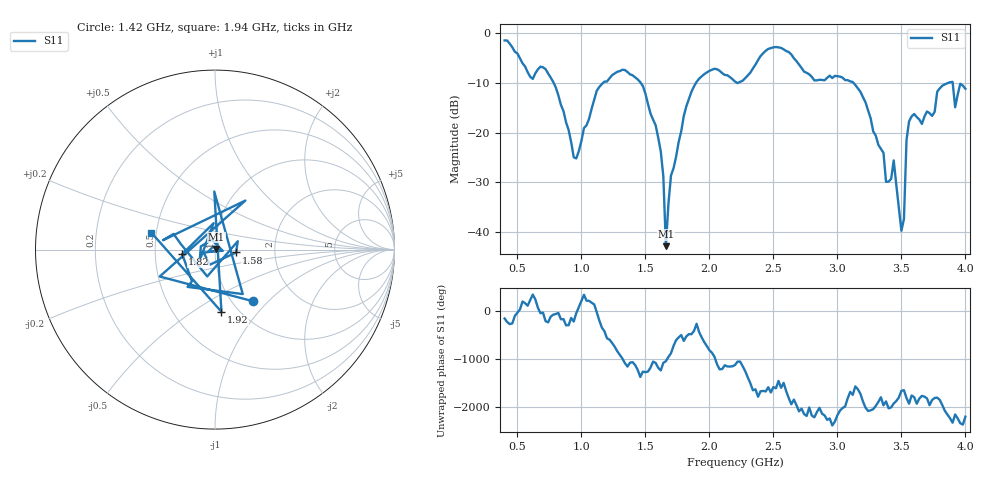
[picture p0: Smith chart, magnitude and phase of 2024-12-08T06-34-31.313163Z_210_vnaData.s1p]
!Created with skrf (http://scikit-rf.org).
# Hz S RI R 50.0
!freq ReS11 ImS11
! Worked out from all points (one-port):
!   181 points, 400 MHz to 4 GHz, reference 50 ohm
!   lowest |S11| = -42.8 dB at 1.66 GHz (marker M1), VSWR 1.01, Z = 50.6 + j0.343 ohm
!   |S11| at or under -10 dB: 783.2 MHz to 1.17 GHz (386.7 MHz wide, 39.6 % of centre); 1.464 GHz to 1.895 GHz (431.8 MHz wide, 25.7 % of centre); 3.126 GHz to 3.867 GHz (741.7 MHz wide, 21.2 % of centre) (the widest 3 of 5)
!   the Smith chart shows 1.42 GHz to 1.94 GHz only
!   S11 on the Smith chart (normalised r, x): 1.42 GHz: 1.24, -0.82; 1.58 GHz: 1.27, -0.04; 1.82 GHz: 0.69, -0.04; 1.92 GHz: 0.84, -0.66; 1.94 GHz: 0.47, +0.10
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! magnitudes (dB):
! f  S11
! 400 MHz  -1.5
! 720 MHz  -7.2
! 860 MHz  -15.7
! 960 MHz  -25.2
! 1.12 GHz  -11.6
! 1.3 GHz  -7.6
! 1.42 GHz  -8.9
! 1.58 GHz  -18.5
! 1.64 GHz  -28.7
! 1.66 GHz  -42.8
! 1.7 GHz  -28.6
! 1.76 GHz  -21.8
! 1.82 GHz  -14.7
! 1.92 GHz  -9.2
! 1.94 GHz  -8.7
! 2.2 GHz  -9.7
! 2.46 GHz  -3.2
! 2.66 GHz  -5.1
! 3.1 GHz  -9.7
! 3.22 GHz  -13.9
! 3.36 GHz  -24.0
! 3.38 GHz  -29.9
! 3.44 GHz  -25.6
! 3.5 GHz  -39.7
! 3.52 GHz  -37.3
! 3.54 GHz  -21.5
! 3.56 GHz  -17.7
! 4 GHz  -11.2
